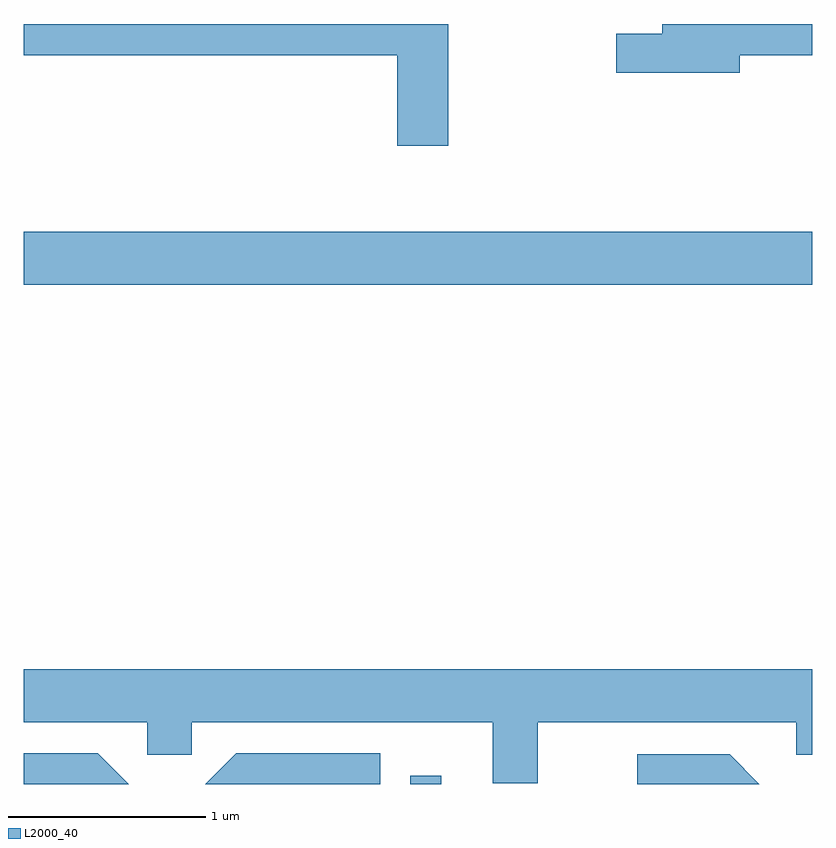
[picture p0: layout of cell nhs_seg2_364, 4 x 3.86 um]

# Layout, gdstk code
import gdstk
lib = gdstk.Library(unit=1e-6, precision=1e-09)
def R(c, l, rs):  # rectangles x0, y0, x1, y1
    for r in rs: c.add(gdstk.rectangle(r[:2], r[2:], *l))
def P(c, l, *ps):  # polygons
    for p in ps: c.add(gdstk.Polygon(p, *l))
L2000_40 = (2000, 40)

nhs_seg2_364 = lib.new_cell('nhs_seg2_364')
R(nhs_seg2_364, L2000_40, [(197.571,1025.802,197.729,1025.843), (195.611,1028.336,199.611,1028.604)])
P(nhs_seg2_364, L2000_40, [(197.764,1029.659),(195.611,1029.659),(195.611,1029.501),(197.506,1029.501),(197.506,1029.041),(197.764,1029.041)],
  [(199.244,1029.501),(199.611,1029.501),(199.611,1029.659),(198.851,1029.659),(198.851,1029.609),(198.616,1029.609),(198.616,1029.411),(199.244,1029.411)],
  [(198.219,1026.116),(199.531,1026.116),(199.531,1025.951),(199.611,1025.951),(199.611,1026.384),(195.611,1026.384),(195.611,1026.116),(196.236,1026.116),(196.236,1025.951),(196.464,1025.951),(196.464,1026.116),(197.991,1026.116),(197.991,1025.806),(198.219,1025.806)],
  [(197.419,1025.959),(196.689,1025.959),(196.532,1025.802),(197.419,1025.802)],
  [(195.987,1025.959),(195.611,1025.959),(195.611,1025.802),(196.144,1025.802)],
  [(199.192,1025.954),(198.723,1025.954),(198.723,1025.802),(199.344,1025.802)])

lib.write_gds('nhs_seg2_364.gds')
